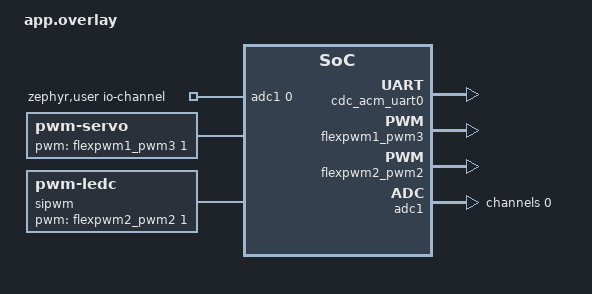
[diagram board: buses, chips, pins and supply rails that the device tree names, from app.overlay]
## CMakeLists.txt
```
cmake_minimum_required(VERSION 3.22)
set(BOARD teensy41)

find_package(Zephyr REQUIRED HINTS $ENV{ZEPHYR_BASE})
project(nxpcup)

set(ENV{ZEPHYR_BASE} ${ZEPHYR_BASE})

include_directories(inc)

target_sources(app PRIVATE 
                src/main.c
                src/blink.c
                src/adc.c
                src/usb.c
                src/camera.c
                src/led.c
                src/gpio.c
                src/servo.c
                )
```

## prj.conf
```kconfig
CONFIG_PWM=y

CONFIG_GPIO=y

CONFIG_USB_DEVICE_STACK=y
CONFIG_USB_DEVICE_PRODUCT="Zephyr USB console sample"
CONFIG_USB_DEVICE_PID=0x0004
CONFIG_USB_DEVICE_INITIALIZE_AT_BOOT=n

CONFIG_SERIAL=y
CONFIG_CONSOLE=y
CONFIG_UART_CONSOLE=y
CONFIG_UART_LINE_CTRL=y

CONFIG_STDOUT_CONSOLE=y
CONFIG_PRINTK=y
CONFIG_LOG=y
CONFIG_LOG_PRINTK=y
CONFIG_LOG_MODE_IMMEDIATE=y
# CONFIG_LOG_MODE_DEFERRED=y
CONFIG_PWM_LOG_LEVEL_DBG=y

CONFIG_PINCTRL=y

CONFIG_PRINTK=y

CONFIG_HEAP_MEM_POOL_SIZE=256

CONFIG_ADC=y
# CONFIG_ADC_LOG_LEVEL_DBG=y

CONFIG_GPIO_LOG_LEVEL_DBG=y

CONFIG_KERNEL_LOG_LEVEL_INF=y

CONFIG_SYS_CLOCK_TICKS_PER_SEC=33554432
```

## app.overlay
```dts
/ {
	chosen {
		zephyr,console = &cdc_acm_uart0;
	};
	
	zephyr,user {
		io-channels = <&adc1 0>;
	};

    servo: servo {
		compatible = "pwm-servo";
		pwms = <&flexpwm1_pwm3 1 PWM_MSEC(20) PWM_POLARITY_NORMAL>;
		min-pulse = <PWM_USEC(700)>;
		max-pulse = <PWM_USEC(2300)>;
	};

	sipwm: sipwm {
		compatible = "pwm-ledc";
		pwms = <&flexpwm2_pwm2 1 PWM_MSEC(5) PWM_POLARITY_NORMAL>;
		min-pulse = <PWM_USEC(1)>;
		max-pulse = <PWM_USEC(16)>;
	};

};

&zephyr_udc0 {
	cdc_acm_uart0: cdc_acm_uart0 {
		compatible = "zephyr,cdc-acm-uart";
	};
};

&pinctrl {
	// Servo PWM
	pinmux_flexpwm_ch1: pinmux_flexpwm_ch1 {
		group0 {
			pinmux = <&iomuxc_gpio_b1_01_flexpwm1_pwmb3>;
			drive-strength = "r0-7";
			slew-rate = "fast";
			nxp,speed = "50-mhz";
		};
	};

	// SI PWM
	pinmux_flexpwm_ch2: pinmux_flexpwm_ch2 {
		group0 {
			pinmux = <&iomuxc_gpio_b0_11_flexpwm2_pwmb2>;
			drive-strength = "r0-7";
			slew-rate = "fast";
			nxp,speed = "50-mhz";
		};
	};

	pinmux_adc_ch1: pinmux_adc_ch1 {
		group0 {
			pinmux = <&iomuxc_gpio_ad_b1_11_adc1_in0>;
			drive-strength = "r0-7";
			slew-rate = "fast";
			nxp,speed = "50-mhz";
		};
	};

	pinmux_gpio6_pin3: pinmux_gpio6_pin3 {
		group0 {
			pinmux = <&iomuxc_gpio_ad_b0_03_gpio1_io03>;
			drive-strength = "r0-7";
			slew-rate = "fast";
			nxp,speed = "50-mhz";
		};
	};

};
&flexpwm1_pwm3 {
	status = "okay";
	pinctrl-0 = <&pinmux_flexpwm_ch1>;
	pinctrl-names = "default";
	nxp,prescaler = <64>;
};

&flexpwm2_pwm2 {
	status = "okay";
	pinctrl-0 = <&pinmux_flexpwm_ch2>;
	pinctrl-names = "default";
	nxp,prescaler = <64>;
};

&adc1 {
	#address-cells = <1>;
	#size-cells = <0>;
	status = "okay";

	pinctrl-0 = <&pinmux_adc_ch1>;
	pinctrl-names = "default";

	channel@0 {
		reg = <0>;
		zephyr,gain = "ADC_GAIN_1";
		zephyr,reference = "ADC_REF_INTERNAL"; // tego nie mozna zmienic
		zephyr,vref-mv = <3300>;
		zephyr,acquisition-time = <ADC_ACQ_TIME_DEFAULT>; // tego tez nie mozna zmienic
		zephyr,resolution = <10>;
		// zephyr,oversampling = <4>;
	};
};

/*
 W NXP RT10xx PWM podzielony jest na:
  * moduły (np. flexpwm2)
  * podmoduły (np. flexpwm2_pwm2)
  * kanały (np. flexpwm2_pwma2, flexpwm2_pwmb2)

  I tak:
  Ustawiamy sobie moduł, podmoduł i kanał w pinmux. Mamy np ...pwmb2
  To oznacza, ze w pwms ustwiamy kanał 1 (a=0, b=1...)
  pwms = <&flexpwm2_pwm2 0 PWM_MSEC(20) PWM_POLARITY_NORMAL>;

  Uwaga:
  &flexpwm1_pwm3 {
	status = "okay";
	pinctrl-0 = <&pinmux_flexpwm_ch1>;
	pinctrl-names = "default";
	nxp,prescaler = <64>;
};

  Nazwy tutaj (np. &flexpwm1_pwm3) nie są arbitralne i są istotne!

  PWM kanał X nie będzie działał nie wchodzimy w to
 */
```

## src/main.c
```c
#include <zephyr/kernel.h>
#include <zephyr/sys/printk.h>

#include "adc.h"
#include "blink.h"
#include "camera.h"
#include "gpio.h"
#include "led.h"
#include "usb.h"
#include "servo.h"

#define STACKSIZE 4096
#define CAMERA_PROC_PRIORITY 7
#define CAMERA_LOG_PRIORITY 3
#define BLINK_AMBER_PRIORIY 1

int main() {
    setupGPIO();
    initAmberLed();
    setupUSB();
    setupAdc();
    setupCamera();
    setupServo();

    printk("NXP says hello <3\n");
    uint32_t freq = CLOCK_GetCpuClkFreq();
    printk("CPU Freq: %d\n", freq);
}

K_THREAD_DEFINE(dummyCameraProc_id, STACKSIZE, dummyCameraProc, NULL, NULL,
                NULL, CAMERA_PROC_PRIORITY, 0, 0);

K_THREAD_DEFINE(periodCameraLog_id, STACKSIZE, periodCameraLog, NULL, NULL,
                NULL, CAMERA_LOG_PRIORITY, 0, 0);

K_THREAD_DEFINE(blinkAmber_id, STACKSIZE, blinkAmber, NULL, NULL, NULL,
                BLINK_AMBER_PRIORIY, 0, 0);

K_THREAD_DEFINE(dummyServoProc_id, STACKSIZE, dummyServoProc, NULL, NULL, NULL,
                BLINK_AMBER_PRIORIY, 0, 0);
```

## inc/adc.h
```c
#ifndef __ADC_H
#define __ADC_H

#include <zephyr/device.h>
#include <zephyr/drivers/adc.h>

// #define AMBER_LED_1V1_EN 1 // voltage > 1V1 ? led on : led off
#define ADC_SLEEP_MS 500

#if !DT_NODE_EXISTS(DT_PATH(zephyr_user)) || \
    !DT_NODE_HAS_PROP(DT_PATH(zephyr_user), io_channels)
#error "No suitable devicetree overlay specified"
#endif

#define DT_SPEC_AND_COMMA(node_id, prop, idx) \
    ADC_DT_SPEC_GET_BY_IDX(node_id, idx),

extern const struct adc_dt_spec adc_channels[];

void setupAdc();
void adcProc();

#endif /* __ADC_H */
```

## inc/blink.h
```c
#ifndef __BLINK_H
#define __BLINK_H

void blinkAmber();
void pwmSmoothFade();

#endif /* __BLINK_H */
```

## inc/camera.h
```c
#ifndef __CAMERA_H
#define __CAMERA_H

#include <stdint.h>
#include <stdarg.h>
#include <zephyr/device.h>
#include <zephyr/drivers/gpio.h>
#include <zephyr/kernel.h>

#define CAMERA_SI_GPIO_PORT GPIO_PORT_6
#define CAMERA_SI_GPIO_PIN 2

#define CAMERA_CLK_GPIO_PORT GPIO_PORT_6
#define CAMERA_CLK_GPIO_PIN 3

#define DELAY_US 20
#define ADC_SAMPLES 128
#define CAMERA_ADC_CHANNEL 0

#define CAMERA_MSG_LEN sizeof(bufArr)
#define CAMERA_MSG_ARRAY_SIZE 4

void setupCamera();
void setCLKPin();
void resetCLKPin();

void dummyCameraProc();

void periodCameraLog();

#endif /* __CAMERA_H */
```

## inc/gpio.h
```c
#ifndef __GPIO_H
#define __GPIO_H

#include <zephyr/device.h>
#include <zephyr/drivers/gpio.h>

#include <stdint.h>

#define GPIO_PORT_6 DEVICE_DT_GET(DT_NODELABEL(gpio6))
#define GPIO_PORT_2 DEVICE_DT_GET(DT_NODELABEL(gpio2))

void setupGPIO();

void configurePin(const struct device *gpio_ct_dev, uint8_t pin, unsigned int flag);
void setPin(const struct device *gpio_ct_dev, uint8_t pin);
void resetPin(const struct device *gpio_ct_dev, uint8_t pin);

#endif /* __GPIO_H */
```

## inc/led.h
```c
#ifndef __LED_H
#define __LED_H

#include "gpio.h"

#define AMBER_LED_GPIO_PORT GPIO_PORT_2
#define AMBER_LED_GPIO_PIN 3

void initAmberLed();

void setAmberLed();
void resetAmberLed();

#endif /* __LED_H */
```

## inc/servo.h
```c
#ifndef __SERVO_H
#define __SERVO_H

#include <stdint.h>

#define SERVO_PWM_MIN_NSEC 700000
#define SERVO_PWM_MAX_NSEC 2300000

#define SERVO_PWM_ZERO (SERVO_PWM_MAX_NSEC + SERVO_PWM_MIN_NSEC) / 2

#define SERVO_PWM_RANGE (SERVO_PWM_MAX_NSEC - SERVO_PWM_MIN_NSEC)

void setupServo();
void setServo(float degrees);
void dummyServoProc();

void servoPulseSet(int32_t pulseWidth);

#endif /* __SERVO_H */
```

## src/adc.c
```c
#include <zephyr/device.h>
#include <zephyr/drivers/adc.h>

#include "adc.h"
#include "led.h"

const struct adc_dt_spec adc_channels[] = {
    DT_FOREACH_PROP_ELEM(DT_PATH(zephyr_user), io_channels, DT_SPEC_AND_COMMA)};

void setupAdc() {
    if (!adc_is_ready_dt(&adc_channels[0])) {
        printk("ADC controller device %s not ready\n",
               adc_channels[0].dev->name);
        return;
    }

    int err = adc_channel_setup_dt(&adc_channels[0]);
    if (err < 0) {
        printk("Could not setup channel #%d (%d)", 0, err);
        return;
    }
}

void adcProc() {
    int64_t buf = 0;
    struct adc_sequence sequence = {
        .buffer = &buf,
        /* buffer size in bytes, not number of samples */
        .buffer_size = sizeof(buf),
        // Optional
        //.calibrate = true,
        .oversampling = 5
    };

    int err = adc_sequence_init_dt(&adc_channels[0], &sequence);
    if (err < 0) {
        printk("Could not initalize sequnce");
        return;
    }

    while (1) {
        printk("[ADC] Read ADC1\n");

        err = adc_read(adc_channels[0].dev, &sequence);
        if (err < 0) {
            printk("Could not read (%d)\n", err);
            return;
        }

        int32_t val_mv;

        if (adc_channels[0].channel_cfg.differential)
            val_mv = (int32_t)((int32_t)buf);
        else
            val_mv = (int32_t)buf;

        printk("%" PRId32, val_mv);
        err = adc_raw_to_millivolts_dt(&adc_channels[0], &val_mv);
        if (err < 0)
            printk(" (value in mV not available)\n");

        else
            printk(" = %" PRId32 " mV\n", val_mv);

        #ifdef AMBER_LED_1V1_EN
            val_mv > 1100 ? setAmberLed() : resetAmberLed();
        #endif

        k_msleep(ADC_SLEEP_MS);
    }
}
```

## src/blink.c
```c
#include "blink.h"

#include <zephyr/device.h>
#include <zephyr/drivers/gpio.h>
#include <zephyr/drivers/pwm.h>
#include <zephyr/kernel.h>

#include "led.h"


void blinkAmber() {
    initAmberLed();

    while (1) {
        setAmberLed();
        k_msleep(500);
        resetAmberLed();
        k_msleep(500);
    }
}
```

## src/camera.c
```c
#include "camera.h"

#include <zephyr/device.h>
#include <zephyr/drivers/gpio.h>
#include <zephyr/kernel.h>

#include "adc.h"
#include "gpio.h"

uint32_t bufArr[ADC_SAMPLES];
K_MSGQ_DEFINE(camera_dat_msgq, CAMERA_MSG_LEN, CAMERA_MSG_ARRAY_SIZE, 4);

void setupCamera() {
    setupGPIO();
    configurePin(CAMERA_SI_GPIO_PORT, CAMERA_SI_GPIO_PIN, GPIO_OUTPUT_ACTIVE);
    configurePin(CAMERA_CLK_GPIO_PORT, CAMERA_CLK_GPIO_PIN, GPIO_OUTPUT_ACTIVE);

    setPin(CAMERA_SI_GPIO_PORT, CAMERA_SI_GPIO_PIN);
    setPin(CAMERA_CLK_GPIO_PORT, CAMERA_CLK_GPIO_PIN);
}

void setSIPin() { setPin(CAMERA_SI_GPIO_PORT, CAMERA_SI_GPIO_PIN); }
void resetSIPin() { resetPin(CAMERA_SI_GPIO_PORT, CAMERA_SI_GPIO_PIN); }

void setCLKPin() { setPin(CAMERA_CLK_GPIO_PORT, CAMERA_CLK_GPIO_PIN); }

void resetCLKPin() { resetPin(CAMERA_CLK_GPIO_PORT, CAMERA_CLK_GPIO_PIN); }

void dummyCameraProc() {
    uint32_t buf = 0;

    struct adc_sequence_options adc_options = {.interval_us = 0};

    struct adc_sequence sequence = {
        .buffer = &buf,
        /* buffer size in bytes, not number of samples */
        .buffer_size = sizeof(buf),
        // Optional
        //.calibrate = true,
        .oversampling = 0,
        .options = &adc_options

    };

    int err =
        adc_sequence_init_dt(&adc_channels[CAMERA_ADC_CHANNEL], &sequence);
    if (err < 0) {
        printk("Could not initalize sequnce");
        return;
    }

    while (1) {
        bool initialSI = 1;
        resetCLKPin();
        setSIPin();

        for (unsigned int i = 0; i < ADC_SAMPLES; i++) {
            k_usleep(DELAY_US);

            setCLKPin();
            if (initialSI) {
                initialSI = 0;
                k_usleep(DELAY_US);  // this is necessary!
                resetSIPin();
            }

            err = adc_read(adc_channels[CAMERA_ADC_CHANNEL].dev, &sequence);
            if (err < 0) {
                printk("Could not read (%d)\n", err);
                return;
            }
            k_usleep(DELAY_US);
            resetCLKPin();

            bufArr[i] = buf;
        }

        // Extra 128th clock
        k_usleep(DELAY_US);
        setCLKPin();
        k_usleep(DELAY_US);
        resetCLKPin();

        k_msgq_put(&camera_dat_msgq, &bufArr, K_NO_WAIT);
    }
}

void periodCameraLog() {
    while (1) {
        printk("[CAMERA-LOG] ADC readings:\n");
        uint32_t cameraBufferArr[ADC_SAMPLES];
        char logBuffer[ADC_SAMPLES * 12];  // 12 znaków na liczbę (przybliżenie)

        k_msgq_get(&camera_dat_msgq, &cameraBufferArr, K_NO_WAIT);

        size_t offset = 0;
        for (unsigned int i = 0; i < ADC_SAMPLES; i++) {
            int32_t val_mv;

            val_mv = adc_channels[CAMERA_ADC_CHANNEL].channel_cfg.differential
                         ? (int32_t)((int32_t)cameraBufferArr[i])
                         : (int32_t)cameraBufferArr[i];

            int32_t err = adc_raw_to_millivolts_dt(
                &adc_channels[CAMERA_ADC_CHANNEL], &val_mv);
            offset +=
                err < 0
                    ? snprintf(logBuffer + offset, sizeof(logBuffer) - offset,
                               "(value in mV not available)\n")
                    : snprintf(logBuffer + offset, sizeof(logBuffer) - offset,
                               "%" PRId32 "\n", val_mv);
        }

        printk("%s\n", logBuffer);
        k_msleep(1000);
    }
}
```

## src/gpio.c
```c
#include "gpio.h"

void setupGPIO() {
    if (!device_is_ready(GPIO_PORT_6)) {
        printk("GPIO (Port 6) device not ready\n");
        return;
    }
    if (!device_is_ready(GPIO_PORT_2)) {
        printk("GPIO (Port 2) device not ready\n");
        return;
    }
    // TODO more ports...
}

void configurePin(const struct device *gpio_ct_dev, uint8_t pin, unsigned int flag) {
    int ret;
    ret = gpio_pin_configure(gpio_ct_dev, pin, flag);

    if (ret != 0) {
        printk("GPIO device error\n");
        return;
    }
}

void setPin(const struct device *gpio_ct_dev, uint8_t pin) {
    int ret = gpio_pin_set_raw(gpio_ct_dev, pin, 1);

    if (ret != 0) {
        printk("err 0\n");
        return;
    }
}
void resetPin(const struct device *gpio_ct_dev, uint8_t pin) {
    int ret = gpio_pin_set_raw(gpio_ct_dev, pin, 0);

    if (ret != 0) {
        printk("err 0\n");
        return;
    }
}
```

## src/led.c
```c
#include <zephyr/device.h>
#include <zephyr/drivers/gpio.h>
#include <zephyr/kernel.h>

#include "led.h"
#include "gpio.h"

void initAmberLed() {
    setupGPIO();
    configurePin(AMBER_LED_GPIO_PORT, AMBER_LED_GPIO_PIN, GPIO_OUTPUT_ACTIVE);
}

void setAmberLed() {
    setPin(AMBER_LED_GPIO_PORT, AMBER_LED_GPIO_PIN);
}
void resetAmberLed() {
    resetPin(AMBER_LED_GPIO_PORT, AMBER_LED_GPIO_PIN);
}
```

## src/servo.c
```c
#include "servo.h"

#include <zephyr/device.h>
#include <zephyr/drivers/gpio.h>
#include <zephyr/drivers/pwm.h>
#include <zephyr/kernel.h>

static const struct pwm_dt_spec pwmServo = PWM_DT_SPEC_GET(DT_NODELABEL(servo));

void setupServo() {
    if (!pwm_is_ready_dt(&pwmServo)) {
        printk("Error: PWM device %s is not ready\n", pwmServo.dev->name);
        return;
    }
}

void setServo(float degrees) {
    // Ograniczenie zakresu do -45° .. 45°
    if (degrees < -45) degrees = -45;
    else if (degrees > 45) degrees = 45;

    int32_t pulseWidth = (SERVO_PWM_RANGE / 180.0f) * degrees + SERVO_PWM_ZERO;

    servoPulseSet(pulseWidth);
}

void servoPulseSet(int32_t pulseWidth) {
    int32_t err = pwm_set_pulse_dt(&pwmServo, pulseWidth);
    if (err) {
        printk("Error in pwm_set_dt(), err: %d\n", err);
        return;
    }
}

void dummyServoProc() {
    while (1) {
        setServo(0);
        k_msleep(1000);
        setServo(-45);
        k_msleep(1000);
        setServo(45);
        k_msleep(1000);
    }
}
```
